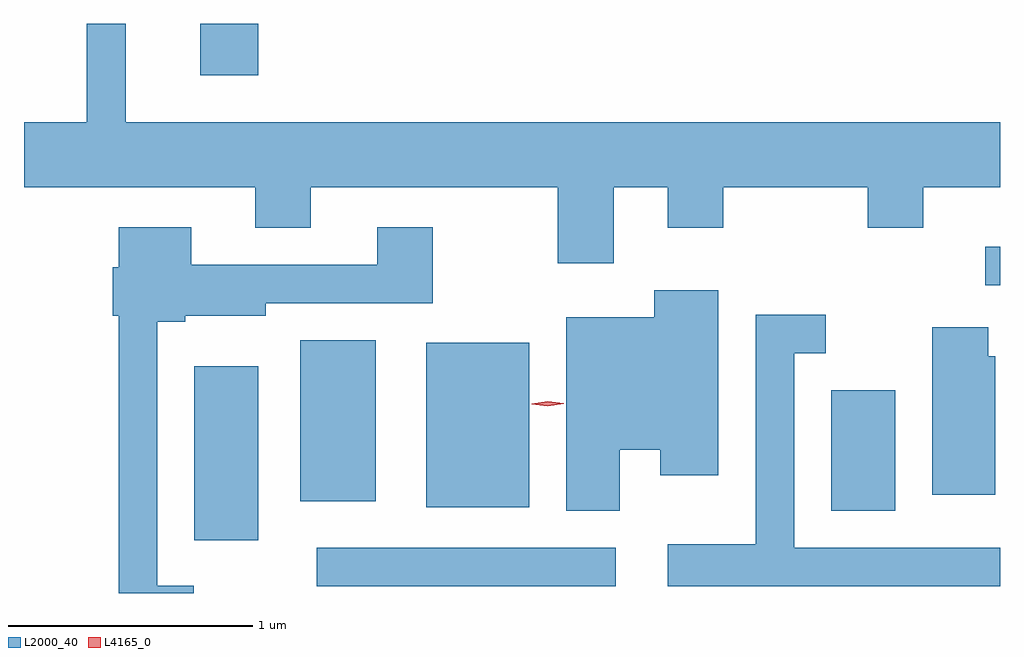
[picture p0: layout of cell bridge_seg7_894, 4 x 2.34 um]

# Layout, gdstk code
import gdstk
lib = gdstk.Library(unit=1e-6, precision=1e-09)
def R(c, l, rs):  # rectangles x0, y0, x1, y1
    for r in rs: c.add(gdstk.rectangle(r[:2], r[2:], *l))
def P(c, l, *ps):  # polygons
    for p in ps: c.add(gdstk.Polygon(p, *l))
L2000_40 = (2000, 40)
L4165_0 = (4165, 0)

bridge_seg7_894 = lib.new_cell('bridge_seg7_894')
R(bridge_seg7_894, L2000_40, [(459.563,1668.281,460.788,1668.439), (459.061,1668.471,459.324,1669.184), (461.671,1668.591,461.934,1669.084), (460.011,1668.606,460.434,1669.279), (459.496,1668.631,459.804,1669.289), (462.303,1669.516,462.363,1669.674), (459.086,1670.376,459.324,1670.588)])
P(bridge_seg7_894, L2000_40, [(460.779,1669.916),(461.001,1669.916),(461.001,1669.751),(461.229,1669.751),(461.229,1669.916),(461.821,1669.916),(461.821,1669.751),(462.049,1669.751),(462.049,1669.916),(462.363,1669.916),(462.363,1670.184),(458.779,1670.184),(458.779,1670.588),(458.621,1670.588),(458.621,1670.184),(458.363,1670.184),(458.363,1669.916),(459.311,1669.916),(459.311,1669.751),(459.539,1669.751),(459.539,1669.916),(460.551,1669.916),(460.551,1669.606),(460.779,1669.606)],
  [(459.058,1668.284),(458.909,1668.284),(458.909,1669.366),(459.024,1669.366),(459.024,1669.391),(459.354,1669.391),(459.354,1669.441),(460.039,1669.441),(460.039,1669.754),(459.811,1669.754),(459.811,1669.599),(459.049,1669.599),(459.049,1669.754),(458.751,1669.754),(458.751,1669.589),(458.726,1669.589),(458.726,1669.391),(458.751,1669.391),(458.751,1668.252),(459.058,1668.252)],
  [(460.804,1668.841),(460.971,1668.841),(460.971,1668.736),(461.209,1668.736),(461.209,1669.494),(460.946,1669.494),(460.946,1669.384),(460.586,1669.384),(460.586,1668.591),(460.804,1668.591)],
  [(462.363,1668.439),(461.519,1668.439),(461.519,1669.236),(461.648,1669.236),(461.648,1669.394),(461.361,1669.394),(461.361,1668.454),(461.001,1668.454),(461.001,1668.281),(462.363,1668.281)],
  [(462.344,1669.224),(462.314,1669.224),(462.314,1669.344),(462.086,1669.344),(462.086,1668.656),(462.344,1668.656)])
P(bridge_seg7_894, L4165_0, [(460.51,1669.02),(460.444,1669.028),(460.444,1669.029),(460.444,1669.03),(460.51,1669.04),(460.576,1669.031),(460.576,1669.03),(460.576,1669.03)])

lib.write_gds('bridge_seg7_894.gds')
